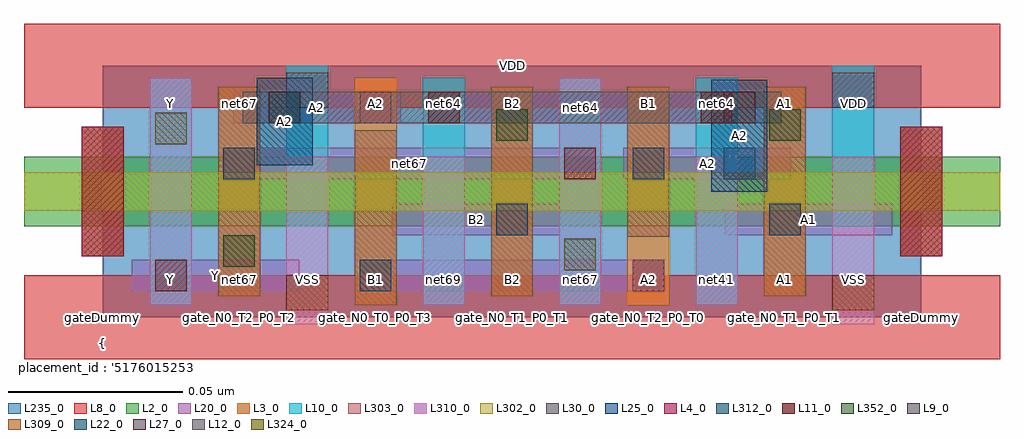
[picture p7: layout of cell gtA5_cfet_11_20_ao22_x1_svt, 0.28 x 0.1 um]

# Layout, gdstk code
import gdstk
lib = gdstk.Library(unit=1e-6, precision=2.5e-10)
def R(c, l, rs):  # rectangles x0, y0, x1, y1
    for r in rs: c.add(gdstk.rectangle(r[:2], r[2:], *l))
def A(c, l, x, y, w, h, nx, ny, dx, dy):  # array of equal rectangles
    R(c, l, [(x+i*dx, y+j*dy, x+i*dx+w, y+j*dy+h) for i in range(nx) for j in range(ny)])
L2_0 = (2, 0)
L3_0 = (3, 0)
L4_0 = (4, 0)
L8_0 = (8, 0)
L9_0 = (9, 0)
L10_0 = (10, 0)
L11_0 = (11, 0)
L12_0 = (12, 0)
L20_0 = (20, 0)
L22_0 = (22, 0)
L25_0 = (25, 0)
L27_0 = (27, 0)
L30_0 = (30, 0)
L235_0 = (235, 0)
L302_0 = (302, 0)
L303_0 = (303, 0)
L309_0 = (309, 0)
L310_0 = (310, 0)
L312_0 = (312, 0)
L324_0 = (324, 0)
L352_0 = (352, 0)

gta5_cfet_11_20_ao22_x1_ = lib.new_cell('gtA5_cfet_11_20_ao22_x1_svt')
R(gta5_cfet_11_20_ao22_x1_, L2_0, [(-0.0225,0.026,0.2565,0.046)])
A(gta5_cfet_11_20_ao22_x1_, L3_0, 0.033, 0.006, 0.012, 0.06, 3, 1, 0.078, 0)
R(gta5_cfet_11_20_ao22_x1_, L3_0, [(0.072,0.0035,0.084,0.0685), (0.15,0.0035,0.162,0.066), (-0.006,0.0175,0.006,0.0545), (0.228,0.0175,0.24,0.0545)])
R(gta5_cfet_11_20_ao22_x1_, L4_0, [(-0.006,0.0175,0.006,0.0545), (0.228,0.0175,0.24,0.0545)])
R(gta5_cfet_11_20_ao22_x1_, L8_0, [(-0.0225,-0.012,0.2565,0.012), (-0.0225,0.06,0.2565,0.084)])
R(gta5_cfet_11_20_ao22_x1_, L9_0, [(0.0525,0.06,0.0645,0.07), (0.2085,0.06,0.2205,0.07)])
A(gta5_cfet_11_20_ao22_x1_, L10_0, 0.0915, 0.0035, 0.012, 0.065, 3, 1, 0.039, 0)
R(gta5_cfet_11_20_ao22_x1_, L10_0, [(0.0135,0.0035,0.0255,0.0685), (0.0525,0.026,0.0645,0.072), (0.2085,0.026,0.2205,0.072)])
R(gta5_cfet_11_20_ao22_x1_, L11_0, [(0.015,0.0075,0.024,0.0165), (0.132,0.0395,0.141,0.0485), (0.093,0.0555,0.102,0.0645), (0.171,0.0555,0.18,0.0645)])
R(gta5_cfet_11_20_ao22_x1_, L12_0, [(0.1515,0.0075,0.1605,0.0165), (0.0735,0.0555,0.0825,0.0645)])
R(gta5_cfet_11_20_ao22_x1_, L20_0, [(0.0083,0.0075,0.0563,0.0165), (0.0735,0.0075,0.1605,0.0165), (0.0828,0.0235,0.1308,0.0325), (0.1777,0.0235,0.2258,0.0325), (0.0345,0.0395,0.141,0.0485), (0.1487,0.0395,0.1968,0.0485), (0.0372,0.0555,0.0853,0.0645), (0.093,0.0555,0.18,0.0645)])
R(gta5_cfet_11_20_ao22_x1_, L22_0, [(0.1775,0.0395,0.1865,0.0485), (0.0475,0.0555,0.0565,0.0645)])
R(gta5_cfet_11_20_ao22_x1_, L25_0, [(0.174,0.036,0.19,0.068), (0.044,0.0435,0.06,0.0685)])
R(gta5_cfet_11_20_ao22_x1_, L27_0, [(0.0475,0.0555,0.0565,0.0645), (0.1775,0.0555,0.1865,0.0645)])
R(gta5_cfet_11_20_ao22_x1_, L30_0, [(0.04,0.0555,0.194,0.0645)])
R(gta5_cfet_11_20_ao22_x1_, L235_0, [(0,0,0.234,0.072)])
R(gta5_cfet_11_20_ao22_x1_, L302_0, [(-0.0225,0.0305,0.2565,0.0415)])
A(gta5_cfet_11_20_ao22_x1_, L303_0, 0.033, 0.006, 0.012, 0.06, 3, 1, 0.078, 0)
R(gta5_cfet_11_20_ao22_x1_, L303_0, [(0.072,0.0035,0.084,0.0535), (-0.006,0.0175,0.006,0.0545), (0.228,0.0175,0.24,0.0545), (0.15,0.023,0.162,0.066)])
R(gta5_cfet_11_20_ao22_x1_, L309_0, [(0.0525,0.002,0.0645,0.012), (0.2085,0.002,0.2205,0.012)])
R(gta5_cfet_11_20_ao22_x1_, L310_0, [(0.0525,-0.002,0.0645,0.046), (0.2085,-0.002,0.2205,0.046), (0.0135,0.0035,0.0255,0.0685), (0.0915,0.0035,0.1035,0.046), (0.1305,0.0035,0.1425,0.0685), (0.1695,0.0035,0.1815,0.046)])
R(gta5_cfet_11_20_ao22_x1_, L312_0, [(0.0735,0.0075,0.0825,0.0165), (0.1125,0.0235,0.1215,0.0325), (0.1905,0.0235,0.1995,0.0325), (0.0345,0.0395,0.0435,0.0485), (0.1515,0.0395,0.1605,0.0485)])
R(gta5_cfet_11_20_ao22_x1_, L324_0, [(0.132,0.0135,0.141,0.0225), (0.015,0.0495,0.024,0.0585)])
R(gta5_cfet_11_20_ao22_x1_, L352_0, [(0.0345,0.0145,0.0435,0.0235), (0.1125,0.0505,0.1215,0.0595), (0.1905,0.0505,0.1995,0.0595)])
gta5_cfet_11_20_ao22_x1_.add(gdstk.Label('net67', (0.0878,0.044), layer=100, texttype=100))
gta5_cfet_11_20_ao22_x1_.add(gdstk.Label('A2', (0.1728,0.044), layer=100, texttype=100))
gta5_cfet_11_20_ao22_x1_.add(gdstk.Label('A2', (0.0612,0.06), layer=100, texttype=100))
gta5_cfet_11_20_ao22_x1_.add(gdstk.Label('net64', (0.1365,0.06), layer=100, texttype=100))
gta5_cfet_11_20_ao22_x1_.add(gdstk.Label('A2', (0.182,0.052), layer=101, texttype=101))
gta5_cfet_11_20_ao22_x1_.add(gdstk.Label('A2', (0.052,0.056), layer=101, texttype=101))
gta5_cfet_11_20_ao22_x1_.add(gdstk.Label('gateDummy', (0,0), layer=103, texttype=103))
gta5_cfet_11_20_ao22_x1_.add(gdstk.Label('sd_N0_T0_P0_T0', (0.0195,0), layer=103, texttype=103))
gta5_cfet_11_20_ao22_x1_.add(gdstk.Label('gate_N0_T2_P0_T2', (0.039,0), layer=103, texttype=103))
gta5_cfet_11_20_ao22_x1_.add(gdstk.Label('sd_N0_VSS_P0_VDD', (0.0585,0), layer=103, texttype=103))
gta5_cfet_11_20_ao22_x1_.add(gdstk.Label('gate_N0_T0_P0_T3', (0.078,0), layer=103, texttype=103))
gta5_cfet_11_20_ao22_x1_.add(gdstk.Label('sd_N0_abut_P0_T3', (0.0975,0), layer=103, texttype=103))
gta5_cfet_11_20_ao22_x1_.add(gdstk.Label('gate_N0_T1_P0_T1', (0.117,0), layer=103, texttype=103))
gta5_cfet_11_20_ao22_x1_.add(gdstk.Label('sd_N0_T2_P0_T2', (0.1365,0), layer=103, texttype=103))
gta5_cfet_11_20_ao22_x1_.add(gdstk.Label('gate_N0_T2_P0_T0', (0.156,0), layer=103, texttype=103))
gta5_cfet_11_20_ao22_x1_.add(gdstk.Label('sd_N0_abut_P0_T3', (0.1755,0), layer=103, texttype=103))
gta5_cfet_11_20_ao22_x1_.add(gdstk.Label('gate_N0_T1_P0_T1', (0.195,0), layer=103, texttype=103))
gta5_cfet_11_20_ao22_x1_.add(gdstk.Label('sd_N0_VSS_P0_VDD', (0.2145,0), layer=103, texttype=103))
gta5_cfet_11_20_ao22_x1_.add(gdstk.Label('gateDummy', (0.234,0), layer=103, texttype=103))
gta5_cfet_11_20_ao22_x1_.add(gdstk.Label('}', (0,-0.0785), layer=104, texttype=104))
gta5_cfet_11_20_ao22_x1_.add(gdstk.Label('  power : None', (0,-0.0713), layer=104, texttype=104))
gta5_cfet_11_20_ao22_x1_.add(gdstk.Label('  performance : None', (0,-0.0643), layer=104, texttype=104))
gta5_cfet_11_20_ao22_x1_.add(gdstk.Label("  solution_hash : '10836439778612218584'", (0,-0.057), layer=104, texttype=104))
gta5_cfet_11_20_ao22_x1_.add(gdstk.Label('  number_m2 : 1', (0,-0.05), layer=104, texttype=104))
gta5_cfet_11_20_ao22_x1_.add(gdstk.Label('  number_m1 : 2', (0,-0.0428), layer=104, texttype=104))
gta5_cfet_11_20_ao22_x1_.add(gdstk.Label('  number_m0cuts : 0', (0,-0.0358), layer=104, texttype=104))
gta5_cfet_11_20_ao22_x1_.add(gdstk.Label('  number_m0 : 8', (0,-0.0285), layer=104, texttype=104))
gta5_cfet_11_20_ao22_x1_.add(gdstk.Label("  solution_number : '0000'", (0,-0.0215), layer=104, texttype=104))
gta5_cfet_11_20_ao22_x1_.add(gdstk.Label("  placement_id : '5176015253999116475'", (0,-0.0143), layer=104, texttype=104))
gta5_cfet_11_20_ao22_x1_.add(gdstk.Label('{', (0,-0.0073), layer=104, texttype=104))
gta5_cfet_11_20_ao22_x1_.add(gdstk.Label('Y', (0.0195,0.0108), layer=105, texttype=105))
gta5_cfet_11_20_ao22_x1_.add(gdstk.Label('net67', (0.039,0.0108), layer=105, texttype=105))
gta5_cfet_11_20_ao22_x1_.add(gdstk.Label('VSS', (0.0585,0.0108), layer=105, texttype=105))
gta5_cfet_11_20_ao22_x1_.add(gdstk.Label('B1', (0.078,0.0108), layer=105, texttype=105))
gta5_cfet_11_20_ao22_x1_.add(gdstk.Label('net69', (0.0975,0.0108), layer=105, texttype=105))
gta5_cfet_11_20_ao22_x1_.add(gdstk.Label('B2', (0.117,0.0108), layer=105, texttype=105))
gta5_cfet_11_20_ao22_x1_.add(gdstk.Label('net67', (0.1365,0.0108), layer=105, texttype=105))
gta5_cfet_11_20_ao22_x1_.add(gdstk.Label('A2', (0.156,0.0108), layer=105, texttype=105))
gta5_cfet_11_20_ao22_x1_.add(gdstk.Label('net41', (0.1755,0.0108), layer=105, texttype=105))
gta5_cfet_11_20_ao22_x1_.add(gdstk.Label('A1', (0.195,0.0108), layer=105, texttype=105))
gta5_cfet_11_20_ao22_x1_.add(gdstk.Label('VSS', (0.2145,0.0108), layer=105, texttype=105))
gta5_cfet_11_20_ao22_x1_.add(gdstk.Label('Y', (0.0195,0.0612), layer=105, texttype=105))
gta5_cfet_11_20_ao22_x1_.add(gdstk.Label('net67', (0.039,0.0612), layer=105, texttype=105))
gta5_cfet_11_20_ao22_x1_.add(gdstk.Label('VDD', (0.0585,0.0612), layer=105, texttype=105))
gta5_cfet_11_20_ao22_x1_.add(gdstk.Label('A2', (0.078,0.0612), layer=105, texttype=105))
gta5_cfet_11_20_ao22_x1_.add(gdstk.Label('net64', (0.0975,0.0612), layer=105, texttype=105))
gta5_cfet_11_20_ao22_x1_.add(gdstk.Label('B2', (0.117,0.0612), layer=105, texttype=105))
gta5_cfet_11_20_ao22_x1_.add(gdstk.Label('net67', (0.1365,0.0612), layer=105, texttype=105))
gta5_cfet_11_20_ao22_x1_.add(gdstk.Label('B1', (0.156,0.0612), layer=105, texttype=105))
gta5_cfet_11_20_ao22_x1_.add(gdstk.Label('net64', (0.1755,0.0612), layer=105, texttype=105))
gta5_cfet_11_20_ao22_x1_.add(gdstk.Label('A1', (0.195,0.0612), layer=105, texttype=105))
gta5_cfet_11_20_ao22_x1_.add(gdstk.Label('VDD', (0.2145,0.0612), layer=105, texttype=105))
gta5_cfet_11_20_ao22_x1_.add(gdstk.Label('VSS', (0.117,0), layer=8, texttype=0))
gta5_cfet_11_20_ao22_x1_.add(gdstk.Label('VDD', (0.117,0.072), layer=8, texttype=0))
gta5_cfet_11_20_ao22_x1_.add(gdstk.Label('Y', (0.0323,0.012), layer=20, texttype=251))
gta5_cfet_11_20_ao22_x1_.add(gdstk.Label('B1', (0.117,0.012), layer=20, texttype=251))
gta5_cfet_11_20_ao22_x1_.add(gdstk.Label('B2', (0.1067,0.028), layer=20, texttype=251))
gta5_cfet_11_20_ao22_x1_.add(gdstk.Label('A1', (0.2018,0.028), layer=20, texttype=251))
gta5_cfet_11_20_ao22_x1_.add(gdstk.Label('A2', (0.117,0.06), layer=30, texttype=251))
gta5_cfet_11_20_ao22_x1_.add(gdstk.Label('gtA5_cfet_11_20_ao22_x1_rvt_0', (0,0), layer=235, texttype=0))

lib.write_gds('gtA5_cfet_11_20_ao22_x1_svt.gds')
